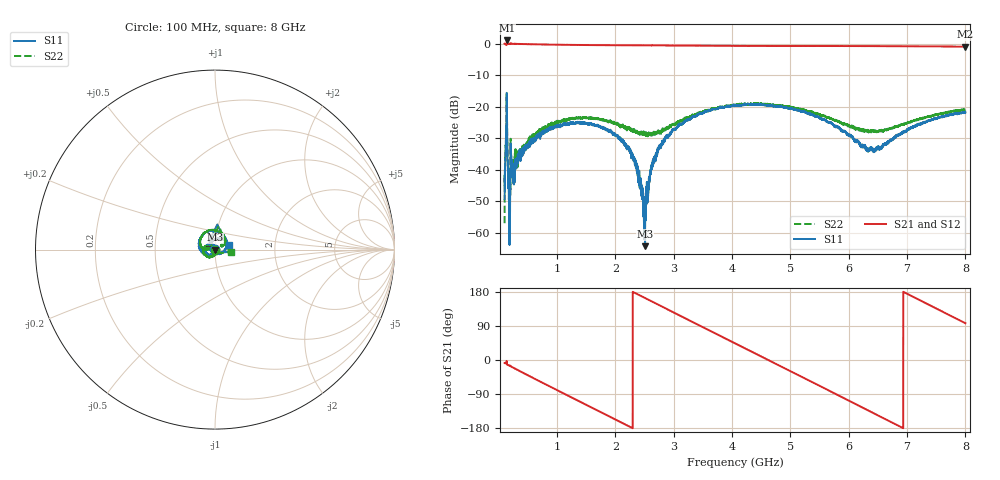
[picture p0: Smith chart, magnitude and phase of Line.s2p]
!Agilent Technologies,N5227A,US51270349,A.09.80.20
!Agilent N5227A: A.09.80.20
!Date: Friday, May 27, 2022 18:53:55
!Correction: S11(Full 2 Port(1,2))
!S21(Full 2 Port(1,2))
!S12(Full 2 Port(1,2))
!S22(Full 2 Port(1,2))
!S2P File: Measurements: S11, S21, S12, S22:
# Hz S  RI  R 50
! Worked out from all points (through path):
!   6401 points, 100 MHz to 8 GHz, reference 50 ohm
!   highest |S21| = 1.01 dB at 137 MHz (marker M1); lowest = -1.0 dB at 7.998 GHz (marker M2)
!   group delay of S21, straight-line fit = 216 ps
!   lowest |S11| = -64.2 dB at 2.508 GHz (marker M3), VSWR 1.00, Z = 50 - j0.0606 ohm
!   |S11| at or under -10 dB: start of sweep to end of sweep
!   |S22| runs from -56.9 to -16.1 dB; largest |S21 - S12| = 0.0055
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1e8  0.00219 0.00267  0.9885 -0.138  0.9839 -0.1383  0.00133 0.000534
1.370312e8  0.1339 0.0619  1.116 -0.1289  1.115 -0.1286  0.1341 0.056
2.036875e8  0.0239 -0.00251  0.9761 -0.2802  0.9765 -0.2808  0.031 -0.00276
2.370156e8  0.00368 -0.0096  0.9356 -0.329  0.9359 -0.3296  0.00451 -0.0104
3.653906e8  0.00145 -0.018  0.8574 -0.489  0.8576 -0.49  0.00148 -0.0177
6.801562e8  -0.0157 -0.0305  0.5642 -0.7934  0.5629 -0.7939  -0.0147 -0.0382
1.417078e9  -0.055 0.0064  -0.3556 -0.8842  -0.3544 -0.8837  -0.0647 -0.0134
2.209547e9  -0.00445 0.0229  -0.9357 -0.1095  -0.9344 -0.1103  -0.0412 0.0174
2.3515e9  0.00053 0.0118  -0.9366 0.0711  -0.938 0.0699  -0.0364 0.0142
2.508266e9  0.000127 -0.000605  -0.9003 0.2654  -0.9009 0.2646  -0.037 0.0096
2.613188e9  -0.00185 -0.0105  -0.8523 0.3912  -0.8525 0.3891  -0.0366 0.00502
2.734156e9  -0.00895 -0.0202  -0.776 0.5245  -0.7773 0.5242  -0.0393 0.00434
3.397016e9  -0.0704 -0.0146  -0.0725 0.9261  -0.0736 0.9263  -0.0761 0.0155
4.05e9  -0.0785 0.0683  0.6625 0.6395  0.6615 0.6416  -0.0684 0.0816
4.690641e9  0.005 0.1039  0.9132 -0.0883  0.9136 -0.0874  0.00147 0.1073
5.367078e9  0.066 0.0359  0.4879 -0.7771  0.4878 -0.776  0.0566 0.0607
5.990438e9  0.0277 -0.0222  -0.2578 -0.8792  -0.2565 -0.8791  0.0444 0.0244
6.327422e9  -0.00516 -0.0197  -0.6191 -0.6725  -0.6173 -0.6733  0.0371 0.0222
6.684156e9  -0.0276 0.0054  -0.8587 -0.3041  -0.858 -0.3061  0.0351 0.0274
7.276656e9  -0.00189 0.0561  -0.8085 0.4065  -0.8101 0.4045  0.0605 0.0266
7.997531e9  0.0749 0.0268  -0.1134 0.8892  -0.115 0.8895  0.0887 -0.0141
8e9  0.0769 0.0281  -0.1107 0.8902  -0.1137 0.8899  0.0892 -0.0156
